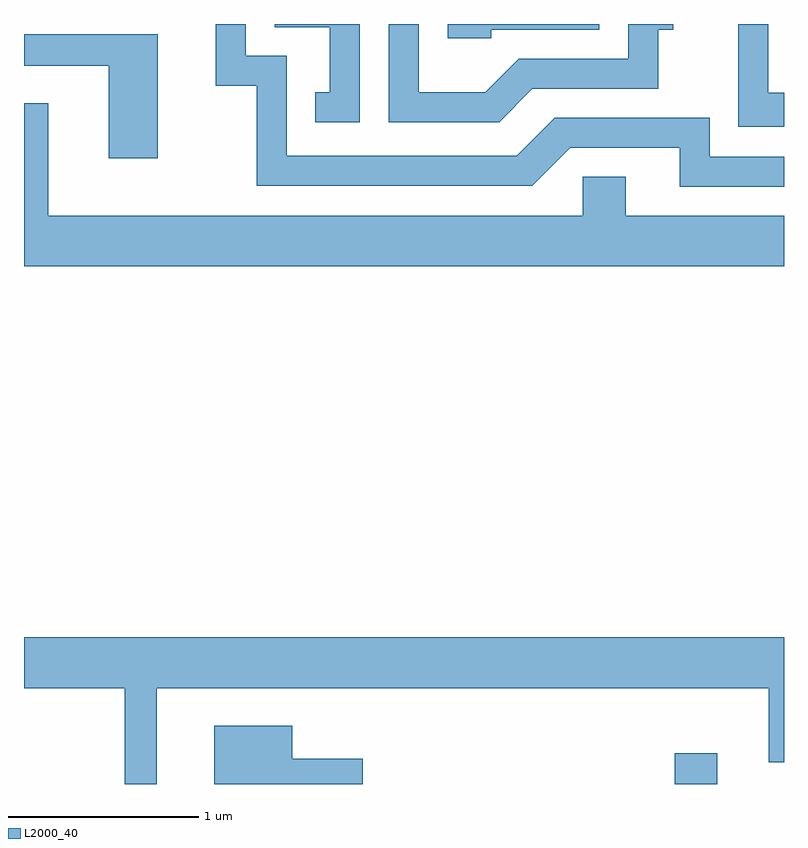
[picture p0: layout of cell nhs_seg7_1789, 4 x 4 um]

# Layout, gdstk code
import gdstk
lib = gdstk.Library(unit=1e-6, precision=1e-09)
def R(c, l, rs):  # rectangles x0, y0, x1, y1
    for r in rs: c.add(gdstk.rectangle(r[:2], r[2:], *l))
def P(c, l, *ps):  # polygons
    for p in ps: c.add(gdstk.Polygon(p, *l))
L2000_40 = (2000, 40)

nhs_seg7_1789 = lib.new_cell('nhs_seg7_1789')
R(nhs_seg7_1789, L2000_40, [(243.036,1718.252,243.259,1718.414)])
P(nhs_seg7_1789, L2000_40, [(241.379,1722.252),(240.931,1722.252),(240.931,1722.236),(241.221,1722.236),(241.221,1721.894),(241.143,1721.894),(241.143,1721.736),(241.379,1721.736)],
  [(243.611,1721.554),(243.219,1721.554),(243.219,1721.759),(242.404,1721.759),(242.204,1721.559),(240.994,1721.559),(240.994,1722.084),(240.779,1722.084),(240.779,1722.252),(240.621,1722.252),(240.621,1721.926),(240.836,1721.926),(240.836,1721.401),(242.287,1721.401),(242.487,1721.601),(243.061,1721.601),(243.061,1721.396),(243.611,1721.396)],
  [(242.287,1721.911),(242.949,1721.911),(242.949,1722.221),(243.028,1722.221),(243.028,1722.252),(242.791,1722.252),(242.791,1722.069),(242.214,1722.069),(242.039,1721.894),(241.689,1721.894),(241.689,1722.252),(241.531,1722.252),(241.531,1721.736),(242.112,1721.736)],
  [(242.069,1722.221),(242.639,1722.221),(242.639,1722.252),(241.841,1722.252),(241.841,1722.176),(242.069,1722.176)],
  [(243.611,1721.889),(243.529,1721.889),(243.529,1722.252),(243.371,1722.252),(243.371,1721.711),(243.611,1721.711)],
  [(240.314,1722.199),(239.613,1722.199),(239.613,1722.031),(240.056,1722.031),(240.056,1721.546),(240.314,1721.546)],
  [(243.611,1721.244),(242.779,1721.244),(242.779,1721.449),(242.551,1721.449),(242.551,1721.244),(239.739,1721.244),(239.739,1721.834),(239.611,1721.834),(239.611,1720.976),(243.611,1720.976)],
  [(240.309,1718.756),(243.531,1718.756),(243.531,1718.366),(243.611,1718.366),(243.611,1719.024),(239.611,1719.024),(239.611,1718.756),(240.141,1718.756),(240.141,1718.252),(240.309,1718.252)],
  [(241.394,1718.384),(241.024,1718.384),(241.024,1718.559),(240.611,1718.559),(240.611,1718.252),(241.394,1718.252)])

lib.write_gds('nhs_seg7_1789.gds')
